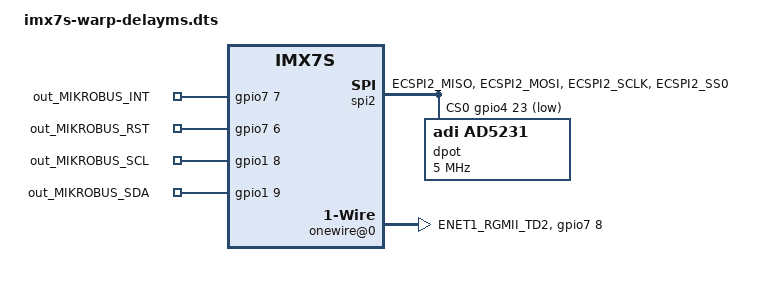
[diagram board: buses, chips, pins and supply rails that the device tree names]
#include "imx7s-warp.dts"

# /sys/bus/spi/devices/spi32766.0/rdac0

/ {
	spi2 {
		fsl,spi-num-chipselects = <1>;
		cs-gpios = <&gpio4 23 GPIO_ACTIVE_LOW>;
		pinctrl-names = "default";
		pinctrl-0 = <&pinctrl_spi2>;
		status = "okay";		
		
		dpot: ad5231@0 {
			compatible = "adi,ad5231";
			#address-cells = <1>;
			#size-cells = <0>;
			reg = <0>;
			spi-max-frequency = <5000000>;
		};
	};
	
	onewire@0 {
		compatible = "w1-gpio";
		pinctrl-names = "default";
		pinctrl-0 = <&pinctrl_w1>;
		gpios = <&gpio7 8 GPIO_ACTIVE_HIGH>;
		input;
	};
	
	gpio_exporter: gpio-exporter {
		compatible = "linux,gpio-exporter";	
		pinctrl-names = "default";
		pinctrl-0 = <&pinctrl_gpioexporter_mikrobus>;
		
		out_MIKROBUS_INT {
			gpios = <&gpio7 7 GPIO_ACTIVE_HIGH>;
			output;
			initial-state = <0>;
		};
		
		out_MIKROBUS_RST {
			gpios = <&gpio7 6 GPIO_ACTIVE_HIGH>;
			output;
			initial-state = <0>;
		};
		
		out_MIKROBUS_SCL {
			gpios = <&gpio1 8 GPIO_ACTIVE_HIGH>;
			output;
			initial-state = <0>;
		};
		
		out_MIKROBUS_SDA {
			gpios = <&gpio1 9 GPIO_ACTIVE_HIGH>;
			output;
			initial-state = <0>;
		};
	};
};

&iomuxc {
	pinctrl-names = "default";
	imx7s-warp {
		
		pinctrl_spi2: spi2grp {
			fsl,pins = <
				MX7D_PAD_ECSPI2_MISO__ECSPI2_MISO          0x00000014
				MX7D_PAD_ECSPI2_MOSI__ECSPI2_MOSI          0x00000014
				MX7D_PAD_ECSPI2_SCLK__ECSPI2_SCLK          0x00000014
				MX7D_PAD_ECSPI2_SS0__ECSPI2_SS0            0x00000014
			>;
		};
		
		pinctrl_w1: w1grp {
			fsl,pins = <
				MX7D_PAD_ENET1_RGMII_TD2__GPIO7_IO8        0x00000034
			>;
		};
		
		pinctrl_gpioexporter_mikrobus: gpioexportergrp {
			fsl,pins = <
				MX7D_PAD_ENET1_RGMII_TD1__GPIO7_IO7	0x14	/* INT */
				MX7D_PAD_ENET1_RGMII_TD0__GPIO7_IO6	0x14 	/* RST */
				MX7D_PAD_GPIO1_IO08__GPIO1_IO8		0x14	/* SCL */
				MX7D_PAD_GPIO1_IO09__GPIO1_IO9		0x14	/* SDA */
			>;
		};
	};
};

